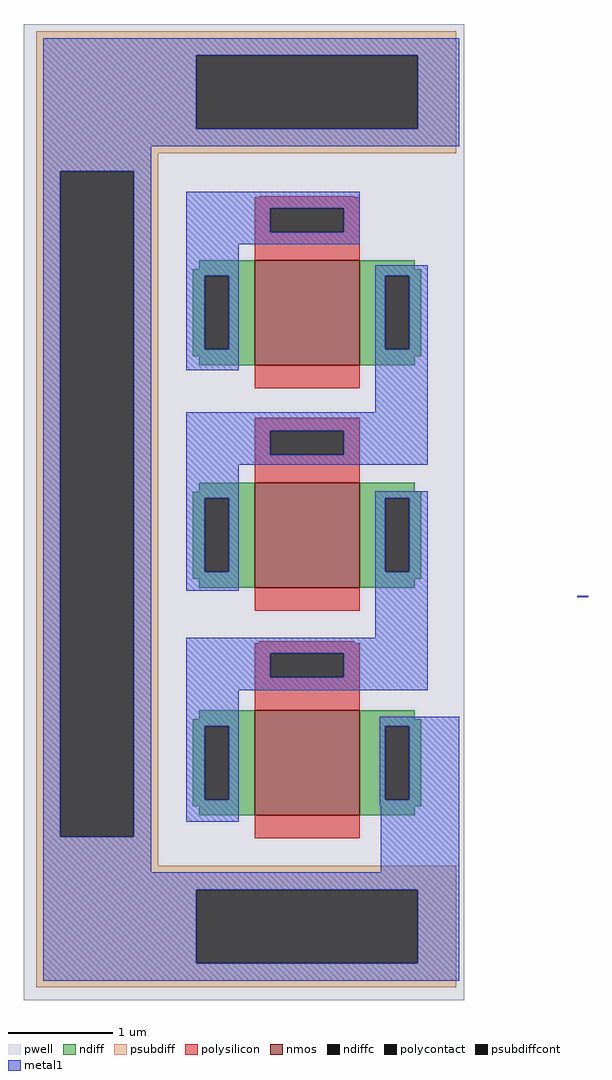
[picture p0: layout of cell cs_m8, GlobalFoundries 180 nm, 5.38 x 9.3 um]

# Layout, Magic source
magic
tech gf180mcuD
magscale 1 10
<< pwell >>
rect -1230 -2120 -390 -260
<< nmos >>
rect -790 -910 -590 -710
rect -790 -1334 -590 -1134
rect -790 -1768 -590 -1568
<< ndiff >>
rect -895 -727 -790 -710
rect -908 -740 -790 -727
rect -908 -880 -885 -740
rect -839 -880 -790 -740
rect -908 -893 -790 -880
rect -895 -910 -790 -893
rect -590 -727 -485 -710
rect -590 -740 -472 -727
rect -590 -880 -541 -740
rect -495 -880 -472 -740
rect -590 -893 -472 -880
rect -590 -910 -485 -893
rect -895 -1151 -790 -1134
rect -908 -1164 -790 -1151
rect -908 -1304 -885 -1164
rect -839 -1304 -790 -1164
rect -908 -1317 -790 -1304
rect -895 -1334 -790 -1317
rect -590 -1151 -485 -1134
rect -590 -1164 -472 -1151
rect -590 -1304 -541 -1164
rect -495 -1304 -472 -1164
rect -590 -1317 -472 -1304
rect -590 -1334 -485 -1317
rect -895 -1585 -790 -1568
rect -908 -1598 -790 -1585
rect -908 -1738 -885 -1598
rect -839 -1738 -790 -1598
rect -908 -1751 -790 -1738
rect -895 -1768 -790 -1751
rect -590 -1585 -485 -1568
rect -590 -1598 -472 -1585
rect -590 -1738 -541 -1598
rect -495 -1738 -472 -1598
rect -590 -1751 -472 -1738
rect -590 -1768 -485 -1751
<< ndiffc >>
rect -885 -880 -839 -740
rect -541 -880 -495 -740
rect -885 -1304 -839 -1164
rect -541 -1304 -495 -1164
rect -885 -1738 -839 -1598
rect -541 -1738 -495 -1598
<< psubdiff >>
rect -1206 -320 -406 -274
rect -1206 -460 -901 -320
rect -479 -460 -406 -320
rect -1206 -506 -406 -460
rect -1206 -541 -974 -506
rect -1206 -1809 -1160 -541
rect -1020 -1809 -974 -541
rect -1206 -1864 -974 -1809
rect -1206 -1910 -406 -1864
rect -1206 -2050 -901 -1910
rect -479 -2050 -406 -1910
rect -1206 -2096 -406 -2050
<< psubdiffcont >>
rect -901 -460 -479 -320
rect -1160 -1809 -1020 -541
rect -901 -2050 -479 -1910
<< polysilicon >>
rect -781 -590 -599 -588
rect -790 -611 -590 -590
rect -790 -657 -760 -611
rect -620 -657 -590 -611
rect -790 -710 -590 -657
rect -790 -954 -590 -910
rect -790 -1035 -590 -1010
rect -790 -1081 -760 -1035
rect -620 -1081 -590 -1035
rect -790 -1134 -590 -1081
rect -790 -1378 -590 -1334
rect -781 -1440 -599 -1436
rect -790 -1459 -590 -1440
rect -790 -1505 -760 -1459
rect -620 -1505 -590 -1459
rect -790 -1568 -590 -1505
rect -790 -1812 -590 -1768
<< polycontact >>
rect -760 -657 -620 -611
rect -760 -1081 -620 -1035
rect -760 -1505 -620 -1459
<< metal1 >>
rect -1193 -320 -400 -287
rect -1193 -460 -901 -320
rect -479 -460 -400 -320
rect -1193 -493 -400 -460
rect -1193 -541 -987 -493
rect -1193 -1809 -1160 -541
rect -1020 -1809 -987 -541
rect -920 -611 -590 -580
rect -920 -657 -760 -611
rect -620 -657 -590 -611
rect -920 -680 -590 -657
rect -920 -740 -820 -680
rect -920 -880 -885 -740
rect -839 -880 -820 -740
rect -920 -920 -820 -880
rect -560 -740 -460 -720
rect -560 -880 -541 -740
rect -495 -880 -460 -740
rect -560 -1000 -460 -880
rect -920 -1035 -460 -1000
rect -920 -1081 -760 -1035
rect -620 -1081 -460 -1035
rect -920 -1100 -460 -1081
rect -920 -1164 -820 -1100
rect -920 -1304 -885 -1164
rect -839 -1304 -820 -1164
rect -920 -1340 -820 -1304
rect -560 -1164 -460 -1150
rect -560 -1304 -541 -1164
rect -495 -1304 -460 -1164
rect -560 -1430 -460 -1304
rect -175 -1352 -154 -1350
rect -920 -1459 -460 -1430
rect -920 -1505 -760 -1459
rect -620 -1505 -460 -1459
rect -920 -1530 -460 -1505
rect -920 -1598 -820 -1530
rect -920 -1738 -885 -1598
rect -839 -1738 -820 -1598
rect -920 -1780 -820 -1738
rect -551 -1598 -400 -1580
rect -551 -1738 -541 -1598
rect -495 -1738 -400 -1598
rect -551 -1749 -400 -1738
rect -1193 -1877 -987 -1809
rect -550 -1877 -400 -1749
rect -1193 -1910 -400 -1877
rect -1193 -2050 -901 -1910
rect -479 -2050 -400 -1910
rect -1193 -2083 -400 -2050
<< end >>
